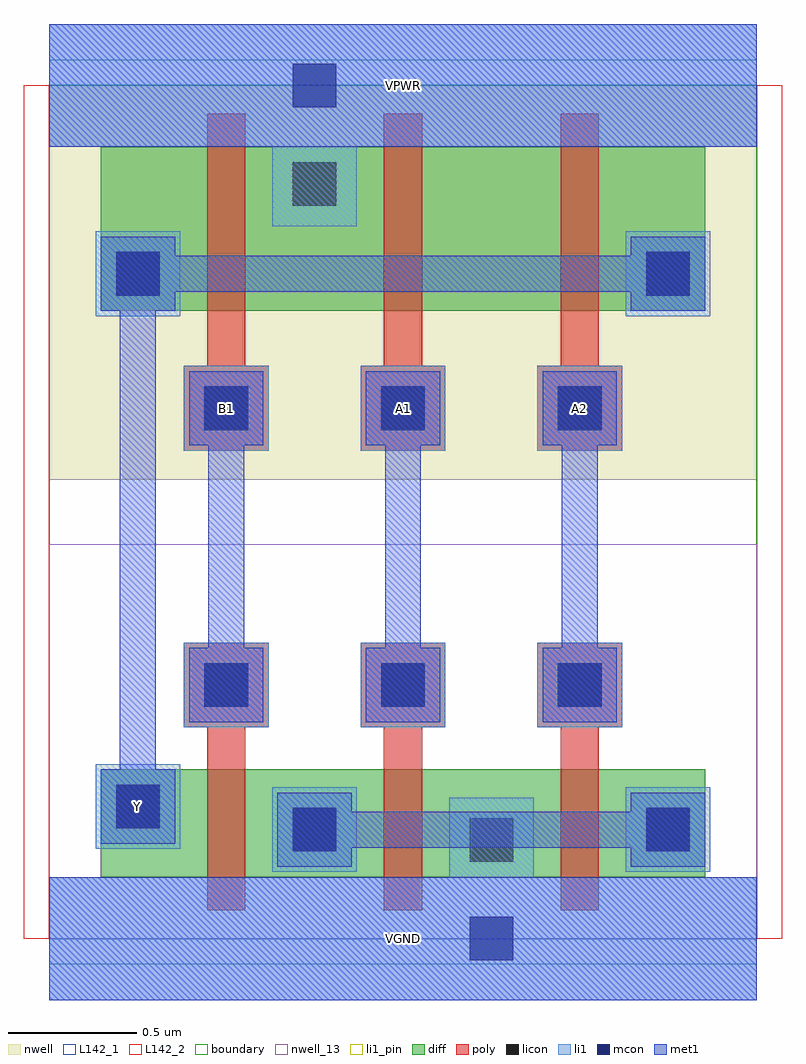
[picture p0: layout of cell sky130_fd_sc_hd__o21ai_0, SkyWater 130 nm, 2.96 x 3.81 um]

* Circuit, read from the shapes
.subckt sky130_fd_sc_hd__o21ai_0 A1 A2 B1 VGND VPWR Y
XM1 n1 B1 Y VSUBS sky130_fd_pr__nfet_01v8 w=0.42 l=0.15
XM2 VGND A1 n1 VSUBS sky130_fd_pr__nfet_01v8 w=0.42 l=0.15
XM3 n1 A2 VGND VSUBS sky130_fd_pr__nfet_01v8 w=0.42 l=0.15
XM4 VPWR B1 Y n2 sky130_fd_pr__pfet_01v8 w=0.64 l=0.15
XM5 n3 A1 VPWR n2 sky130_fd_pr__pfet_01v8 w=0.64 l=0.15
XM6 Y A2 n3 n2 sky130_fd_pr__pfet_01v8 w=0.64 l=0.15
.ends

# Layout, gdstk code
import gdstk
lib = gdstk.Library(unit=1e-6, precision=1e-09)
def R(c, l, rs):  # rectangles x0, y0, x1, y1
    for r in rs: c.add(gdstk.rectangle(r[:2], r[2:], *l))
def A(c, l, x, y, w, h, nx, ny, dx, dy):  # array of equal rectangles
    R(c, l, [(x+i*dx, y+j*dy, x+i*dx+w, y+j*dy+h) for i in range(nx) for j in range(ny)])
def P(c, l, *ps):  # polygons
    for p in ps: c.add(gdstk.Polygon(p, *l))
nwell_13 = (64, 13)
nwell = (64, 20)
diff = (65, 20)
poly = (66, 20)
licon = (66, 44)
li1_pin = (67, 16)
li1 = (67, 20)
mcon = (67, 44)
met1 = (68, 20)
L142_1 = (142, 1)
L142_2 = (142, 2)
boundary = (235, 4)

sky130_fd_sc_hd__o21ai_0 = lib.new_cell('sky130_fd_sc_hd__o21ai_0')
R(sky130_fd_sc_hd__o21ai_0, nwell_13, [(0,0,2.76,1.54)])
R(sky130_fd_sc_hd__o21ai_0, nwell, [(0,1.79,2.76,3.33)])
R(sky130_fd_sc_hd__o21ai_0, diff, [(0.2,0.24,2.56,0.66), (0.2,0.24,0.615,0.66), (0.615,0.24,1.305,0.66), (1.305,0.24,1.995,0.66), (1.995,0.24,2.56,0.66), (0.2,2.45,2.56,3.09), (0.2,2.45,0.615,3.09), (0.615,2.45,1.305,3.09), (1.305,2.45,1.995,3.09), (1.995,2.45,2.56,3.09)])
P(sky130_fd_sc_hd__o21ai_0, poly, [(1.995,0.11),(1.995,0.825),(1.905,0.825),(1.905,1.155),(2.235,1.155),(2.235,0.825),(2.145,0.825),(2.145,0.11)],
  [(1.905,1.905),(1.905,2.235),(1.995,2.235),(1.995,3.22),(2.145,3.22),(2.145,2.235),(2.235,2.235),(2.235,1.905)],
  [(1.305,0.11),(1.305,0.825),(1.215,0.825),(1.215,1.155),(1.545,1.155),(1.545,0.825),(1.455,0.825),(1.455,0.11)],
  [(1.215,1.905),(1.215,2.235),(1.305,2.235),(1.305,3.22),(1.455,3.22),(1.455,2.235),(1.545,2.235),(1.545,1.905)],
  [(0.615,0.11),(0.615,0.825),(0.525,0.825),(0.525,1.155),(0.855,1.155),(0.855,0.825),(0.765,0.825),(0.765,0.11)],
  [(0.525,1.905),(0.525,2.235),(0.615,2.235),(0.615,3.22),(0.765,3.22),(0.765,2.235),(0.855,2.235),(0.855,1.905)])
A(sky130_fd_sc_hd__o21ai_0, licon, 0.605, 0.905, 0.17, 0.17, 3, 2, 0.69, 1.08)
R(sky130_fd_sc_hd__o21ai_0, licon, [(1.64,0.3,1.81,0.47), (0.95,0.34,1.12,0.51), (2.33,0.34,2.5,0.51), (0.26,0.43,0.43,0.6), (0.26,2.51,0.43,2.68), (2.33,2.51,2.5,2.68), (0.95,2.86,1.12,3.03)])
A(sky130_fd_sc_hd__o21ai_0, li1_pin, 0.525, 1.905, 0.33, 0.33, 3, 1, 0.69, 0)
R(sky130_fd_sc_hd__o21ai_0, li1_pin, [(0,-0.24,2.76,0.24), (0.18,0.35,0.51,0.68), (0,3.09,2.76,3.57)])
A(sky130_fd_sc_hd__o21ai_0, li1, 0.525, 0.825, 0.33, 0.33, 3, 2, 0.69, 1.08)
R(sky130_fd_sc_hd__o21ai_0, li1, [(0.87,0.26,1.2,0.59), (2.25,0.26,2.58,0.59), (0.18,0.35,0.51,0.68), (0.18,2.43,0.51,2.76), (2.25,2.43,2.58,2.76)])
P(sky130_fd_sc_hd__o21ai_0, li1, [(0.87,2.78),(0.87,3.09),(0,3.09),(0,3.57),(2.76,3.57),(2.76,3.09),(1.2,3.09),(1.2,2.78)],
  [(0,-0.24),(0,0.24),(1.56,0.24),(1.56,0.55),(1.89,0.55),(1.89,0.24),(2.76,0.24),(2.76,-0.24)])
A(sky130_fd_sc_hd__o21ai_0, mcon, 0.605, 0.905, 0.17, 0.17, 3, 2, 0.69, 1.08)
R(sky130_fd_sc_hd__o21ai_0, mcon, [(1.64,-0.085,1.81,0.085), (0.95,0.34,1.12,0.51), (2.33,0.34,2.5,0.51), (0.26,0.43,0.43,0.6), (0.26,2.51,0.43,2.68), (2.33,2.51,2.5,2.68), (0.95,3.245,1.12,3.415)])
R(sky130_fd_sc_hd__o21ai_0, met1, [(0,-0.24,2.76,0.24), (0,3.09,2.76,3.57)])
P(sky130_fd_sc_hd__o21ai_0, met1, [(0.2,0.37),(0.2,0.66),(0.275,0.66),(0.275,2.45),(0.2,2.45),(0.2,2.74),(0.49,2.74),(0.49,2.665),(2.27,2.665),(2.27,2.74),(2.56,2.74),(2.56,2.45),(2.27,2.45),(2.27,2.525),(0.49,2.525),(0.49,2.45),(0.415,2.45),(0.415,0.66),(0.49,0.66),(0.49,0.37)],
  [(1.925,0.845),(1.925,1.135),(2,1.135),(2,1.925),(1.925,1.925),(1.925,2.215),(2.215,2.215),(2.215,1.925),(2.14,1.925),(2.14,1.135),(2.215,1.135),(2.215,0.845)],
  [(1.235,0.845),(1.235,1.135),(1.31,1.135),(1.31,1.925),(1.235,1.925),(1.235,2.215),(1.525,2.215),(1.525,1.925),(1.45,1.925),(1.45,1.135),(1.525,1.135),(1.525,0.845)],
  [(0.89,0.28),(0.89,0.57),(1.18,0.57),(1.18,0.495),(2.27,0.495),(2.27,0.57),(2.56,0.57),(2.56,0.28),(2.27,0.28),(2.27,0.355),(1.18,0.355),(1.18,0.28)],
  [(0.545,0.845),(0.545,1.135),(0.62,1.135),(0.62,1.925),(0.545,1.925),(0.545,2.215),(0.835,2.215),(0.835,1.925),(0.76,1.925),(0.76,1.135),(0.835,1.135),(0.835,0.845)])
R(sky130_fd_sc_hd__o21ai_0, L142_1, [(0,-0.1,2.76,0), (0,3.33,2.76,3.43)])
R(sky130_fd_sc_hd__o21ai_0, L142_2, [(-0.1,0,0,3.33), (2.76,0,2.86,3.33)])
R(sky130_fd_sc_hd__o21ai_0, boundary, [(0,0,2.76,3.33)])
sky130_fd_sc_hd__o21ai_0.add(gdstk.Label('Y', (0.345,0.515), layer=67, texttype=5))
sky130_fd_sc_hd__o21ai_0.add(gdstk.Label('A1', (1.38,2.07), layer=67, texttype=5))
sky130_fd_sc_hd__o21ai_0.add(gdstk.Label('B1', (0.69,2.07), layer=67, texttype=5))
sky130_fd_sc_hd__o21ai_0.add(gdstk.Label('A2', (2.07,2.07), layer=67, texttype=5))
sky130_fd_sc_hd__o21ai_0.add(gdstk.Label('VGND', (1.38,0), layer=67, texttype=5))
sky130_fd_sc_hd__o21ai_0.add(gdstk.Label('VPWR', (1.38,3.33), layer=67, texttype=5))
sky130_fd_sc_hd__o21ai_0.add(gdstk.Label('VGND', (1.38,0), layer=68, texttype=5))
sky130_fd_sc_hd__o21ai_0.add(gdstk.Label('VPWR', (1.38,3.33), layer=68, texttype=5))

lib.write_gds('sky130_fd_sc_hd__o21ai_0.gds')
